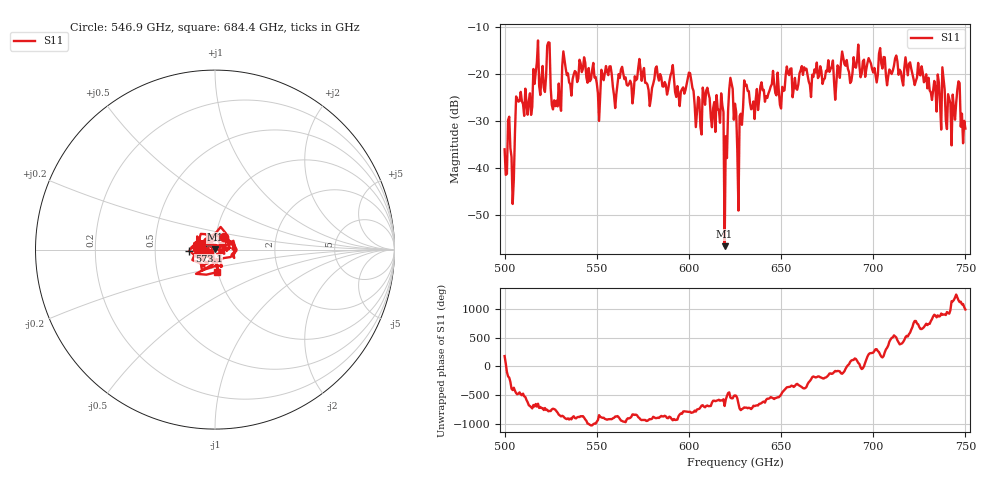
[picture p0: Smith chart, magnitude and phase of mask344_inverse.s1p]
!Created with skrf (http://scikit-rf.org).
# GHz S MA R 50.0
!freq magS11 angS11
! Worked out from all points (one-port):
!   401 points, 500 GHz to 750 GHz, reference 50 ohm
!   lowest |S11| = -56.7 dB at 619.4 GHz (marker M1), VSWR 1.00, Z = 50.1 + j0.0777 ohm
!   |S11| at or under -10 dB: start of sweep to end of sweep
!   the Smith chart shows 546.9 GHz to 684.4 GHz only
!   S11 on the Smith chart (normalised r, x): 546.9 GHz: 1.10, +0.16; 573.1 GHz: 0.75, -0.01; 684.4 GHz: 1.00, -0.25
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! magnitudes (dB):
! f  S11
! 500 GHz  -36.1
! 504.4 GHz  -47.7
! 507.5 GHz  -26.0
! 513.8 GHz  -24.2
! 516.9 GHz  -19.8
! 520.6 GHz  -18.4
! 523.8 GHz  -13.3
! 526.9 GHz  -25.7
! 531.2 GHz  -18.4
! 546.9 GHz  -21.2
! 562.5 GHz  -20.9
! 573.1 GHz  -16.9
! 593.8 GHz  -22.7
! 600 GHz  -19.8
! 617.5 GHz  -24.2
! 619.4 GHz  -56.7
! 622.5 GHz  -20.9
! 625 GHz  -26.4
! 627.5 GHz  -29.0
! 631.2 GHz  -22.4
! 634.4 GHz  -27.3
! 656.2 GHz  -25.0
! 684.4 GHz  -18.0
! 687.5 GHz  -22.0
! 718.8 GHz  -20.4
! 741.2 GHz  -25.4
! 745.6 GHz  -23.4
! 750 GHz  -31.7
